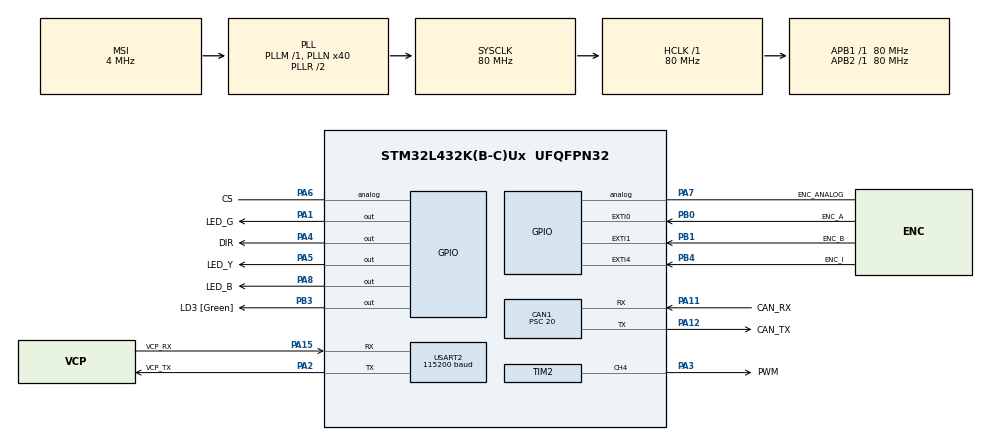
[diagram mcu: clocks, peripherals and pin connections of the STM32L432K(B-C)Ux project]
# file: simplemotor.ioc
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CAN1.ABOM=ENABLE
CAN1.BS1=CAN_BS1_13TQ
CAN1.BS2=CAN_BS2_2TQ
CAN1.CalculateTimeQuantum=250.0
CAN1.Mode=CAN_MODE_NORMAL
CAN1.Prescaler=20
CAN1.SJW=CAN_SJW_1TQ
Dma.Request0=USART2_RX
Dma.Request1=USART2_TX
Dma.USART2_RX.0.Direction=DMA_PERIPH_TO_MEMORY
Dma.USART2_RX.0.Instance=DMA1_Channel6
Dma.USART2_RX.0.MemDataAlignment=DMA_MDATAALIGN_BYTE
Dma.USART2_RX.0.MemInc=DMA_MINC_ENABLE
Dma.USART2_RX.0.Mode=DMA_CIRCULAR
Dma.USART2_RX.0.PeriphDataAlignment=DMA_PDATAALIGN_BYTE
Dma.USART2_RX.0.PeriphInc=DMA_PINC_DISABLE
Dma.USART2_RX.0.Priority=DMA_PRIORITY_MEDIUM
Dma.USART2_TX.1.Direction=DMA_MEMORY_TO_PERIPH
Dma.USART2_TX.1.Instance=DMA1_Channel7
Dma.USART2_TX.1.MemDataAlignment=DMA_MDATAALIGN_BYTE
Dma.USART2_TX.1.MemInc=DMA_MINC_ENABLE
Dma.USART2_TX.1.Mode=DMA_NORMAL
Dma.USART2_TX.1.PeriphDataAlignment=DMA_PDATAALIGN_BYTE
Dma.USART2_TX.1.PeriphInc=DMA_PINC_DISABLE
Dma.USART2_TX.1.Priority=DMA_PRIORITY_LOW
Mcu.Family=STM32L4
Mcu.Name=STM32L432K(B-C)Ux
Mcu.Package=UFQFPN32
NVIC.CAN1_RX0_IRQn=true\:5\:0\:true\:false\:true\:true\:true
NVIC.CAN1_SCE_IRQn=true\:0\:0\:false\:false\:true\:true\:true
NVIC.CAN1_TX_IRQn=true\:6\:0\:true\:false\:true\:true\:true
NVIC.DMA1_Channel6_IRQn=true\:2\:0\:true\:false\:true\:false\:true
NVIC.DMA1_Channel7_IRQn=true\:3\:0\:true\:false\:true\:false\:true
NVIC.PriorityGroup=NVIC_PRIORITYGROUP_3
NVIC.TIM6_DAC_IRQn=true\:7\:1\:true\:false\:true\:true\:true
NVIC.TIM7_IRQn=true\:1\:0\:true\:false\:true\:true\:true
NVIC.USART2_IRQn=true\:4\:0\:true\:false\:true\:true\:true
PA0.GPIO_Label=MCO [High speed clock in]
PA0.Mode=HSE-External-Clock-Source-for-LittleOrca
PA0.Signal=RCC_CK_IN
PA1.GPIO_Label=LED_G
PA1.Signal=GPIO_Output
PA11.GPIO_Label=CAN_RX
PA11.Mode=Master
PA11.Signal=CAN1_RX
PA12.GPIO_Label=CAN_TX
PA12.Mode=Master
PA12.Signal=CAN1_TX
PA13\ (JTMS-SWDIO).GPIO_Label=SWDIO
PA13\ (JTMS-SWDIO).Mode=Serial_Wire
PA13\ (JTMS-SWDIO).Signal=SYS_JTMS-SWDIO
PA14\ (JTCK-SWCLK).GPIO_Label=SWCLK
PA14\ (JTCK-SWCLK).Mode=Serial_Wire
PA14\ (JTCK-SWCLK).Signal=SYS_JTCK-SWCLK
PA15\ (JTDI).GPIO_Label=VCP_RX
PA15\ (JTDI).Mode=Asynchronous
PA15\ (JTDI).Signal=USART2_RX
PA2.GPIO_Label=VCP_TX
PA2.Mode=Asynchronous
PA2.Signal=USART2_TX
PA3.GPIO_Label=PWM
PA3.Signal=S_TIM2_CH4
PA4.GPIO_Label=DIR
PA4.Signal=GPIO_Output
PA5.GPIO_Label=LED_Y
PA5.Signal=GPIO_Output
PA6.GPIO_Label=CS
PA6.Signal=GPIO_Analog
PA7.GPIO_Label=ENC_ANALOG
PA7.Signal=GPIO_Analog
PA8.GPIO_Label=LED_B
PA8.Signal=GPIO_Output
PB0.GPIO_Label=ENC_A
PB0.GPIO_ModeDefaultEXTI=GPIO_MODE_IT_RISING_FALLING
PB0.GPIO_PuPd=GPIO_PULLDOWN
PB0.Signal=GPXTI0
PB1.GPIO_Label=ENC_B
PB1.GPIO_ModeDefaultEXTI=GPIO_MODE_IT_RISING_FALLING
PB1.GPIO_PuPd=GPIO_PULLDOWN
PB1.Signal=GPXTI1
PB3\ (JTDO-TRACESWO).GPIO_Label=LD3 [Green]
PB3\ (JTDO-TRACESWO).Signal=GPIO_Output
PB4\ (NJTRST).GPIO_Label=ENC_I
PB4\ (NJTRST).GPIO_PuPd=GPIO_PULLDOWN
PB4\ (NJTRST).Signal=GPXTI4
PC14-OSC32_IN\ (PC14).Mode=LSE-External-Oscillator
PC14-OSC32_IN\ (PC14).Signal=RCC_OSC32_IN
PC15-OSC32_OUT\ (PC15).Mode=LSE-External-Oscillator
PC15-OSC32_OUT\ (PC15).Signal=RCC_OSC32_OUT
ProjectManager.HeapSize=0x200
ProjectManager.StackSize=0x400
ProjectManager.TargetToolchain=Makefile
RCC.AHBFreq_Value=80000000
RCC.APB1Freq_Value=80000000
RCC.APB1TimFreq_Value=80000000
RCC.APB2Freq_Value=80000000
RCC.APB2TimFreq_Value=80000000
RCC.CortexFreq_Value=80000000
RCC.HCLKFreq_Value=80000000
RCC.HSE_VALUE=8000000
RCC.HSI16_VALUE=16000000
RCC.HSI48_VALUE=48000000
RCC.HSI_VALUE=16000000
RCC.MSI_VALUE=4000000
RCC.PLLMUL=RCC_PLLMUL_4
RCC.PLLN=40
RCC.SYSCLKFreq_VALUE=80000000
RCC.SYSCLKSource=RCC_SYSCLKSOURCE_PLLCLK
RCC.VCOOutputFreq_Value=160000000
SH.S_TIM2_CH4.0=TIM2_CH4,PWM Generation4 CH4
TIM2.AutoReloadPreload=TIM_AUTORELOAD_PRELOAD_DISABLE
TIM2.Channel-PWM\ Generation4\ CH4=TIM_CHANNEL_4
TIM2.Period=3999
TIM2.Pulse-PWM\ Generation4\ CH4=0
TIM6.AutoReloadPreload=TIM_AUTORELOAD_PRELOAD_DISABLE
TIM6.Period=9999
TIM6.Prescaler=79
TIM7.Period=799
USART2.BaudRate=115200
USART2.VirtualMode-Asynchronous=VM_ASYNC
VP_TIM2_VS_ClockSourceINT.Mode=Internal
VP_TIM6_VS_ClockSourceINT.Mode=Enable_Timer
VP_TIM7_VS_ClockSourceINT.Mode=Enable_Timer
board=NUCLEO-L432KC

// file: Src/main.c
/* USER CODE BEGIN Header */
/**
  ******************************************************************************
  * @file           : main.c
  * @brief          : Main program body
  ******************************************************************************
  * @attention
  *
  * <h2><center>&copy; Copyright (c) 2020 STMicroelectronics.
  * All rights reserved.</center></h2>
  *
  * This software component is licensed by ST under BSD 3-Clause license,
  * the "License"; You may not use this file except in compliance with the
  * License. You may obtain a copy of the License at:
  *                        opensource.org/licenses/BSD-3-Clause
  *
  ******************************************************************************
  */
/* USER CODE END Header */

#include "main.h"

/* USER CODE BEGIN Includes */
#include "usrMain.h"
#include "handles.h"
/* USER CODE END Includes */

CAN_HandleTypeDef hcan1;

TIM_HandleTypeDef htim2;
TIM_HandleTypeDef htim6;
TIM_HandleTypeDef htim7;

UART_HandleTypeDef huart2;
DMA_HandleTypeDef hdma_usart2_rx;
DMA_HandleTypeDef hdma_usart2_tx;

/* USER CODE BEGIN PV */
uint8_t tx_busy = 0;
uint8_t uart_receive_buffer[10];
uint32_t ticks;
uint8_t enc_a_last, enc_b_last;

CAN_FilterTypeDef sFilterConfig;
CAN_TxHeaderTypeDef TxHeader;
CAN_RxHeaderTypeDef RxHeader;
uint8_t TxData[8];
uint8_t RxData[8];
uint32_t TxMailbox;
/* USER CODE END PV */

void SystemClock_Config(void);
static void MX_GPIO_Init(void);
static void MX_DMA_Init(void);
static void MX_USART2_UART_Init(void);
static void MX_CAN1_Init(void);
static void MX_TIM2_Init(void);
static void MX_TIM6_Init(void);
static void MX_TIM7_Init(void);

/* USER CODE BEGIN 0 */

void HAL_TIM_PeriodElapsedCallback(TIM_HandleTypeDef *htim)
{
   if (htim->Instance == htim7.Instance)
     encoder_tick();
   else
    if (htim->Instance == htim6.Instance)
    control_tick();
}

// void HAL_UART_RxCpltCallback(UART_HandleTypeDef *huart) {
//   __HAL_UART_SEND_REQ(huart, UART_RXDATA_FLUSH_REQUEST);
//   uart_byte_received(uart_receive_buffer[0]);
// }

// void HAL_UART_TxCpltCallback(UART_HandleTypeDef *huart) {
//   tx_cplt();
// }

void HAL_CAN_TxMailbox0CompleteCallback(CAN_HandleTypeDef *hcan)
{

}
void HAL_CAN_RxFifo0MsgPendingCallback(CAN_HandleTypeDef *hcan)
{
  HAL_CAN_GetRxMessage(&hcan1, CAN_RX_FIFO0, &RxHeader, RxData);
  parse_can_message();
}

/* USER CODE END 0 */

int main(void)
{

  /* MCU Configuration--------------------------------------------------------*/

  /* Reset of all peripherals, Initializes the Flash interface and the Systick. */
  HAL_Init();

  /* Configure the system clock */
  SystemClock_Config();

  /* Initialize all configured peripherals */
  MX_GPIO_Init();
  MX_DMA_Init();
  MX_USART2_UART_Init();
  MX_CAN1_Init();
  MX_TIM2_Init();
  MX_TIM6_Init();
  MX_TIM7_Init();
  /* USER CODE BEGIN 2 */
  HAL_TIM_PWM_Start(&htim2, TIM_CHANNEL_4);
  //HAL_UART_Receive_DMA(&huart2, uart_receive_buffer, 1);

  //HAL_UART_Receive_DMA(&huart2, uart_receive_buffer, 1);
  /* USER CODE END 2 */

  /* Infinite loop */
  /* USER CODE BEGIN WHILE */
  usrMain();
    /* USER CODE END WHILE */

}

void SystemClock_Config(void)
{
  RCC_OscInitTypeDef RCC_OscInitStruct = {0};
  RCC_ClkInitTypeDef RCC_ClkInitStruct = {0};
  RCC_PeriphCLKInitTypeDef PeriphClkInit = {0};

  /** Configure LSE Drive Capability
  */
  HAL_PWR_EnableBkUpAccess();
  __HAL_RCC_LSEDRIVE_CONFIG(RCC_LSEDRIVE_LOW);
  /** Initializes the CPU, AHB and APB busses clocks
  */
  RCC_OscInitStruct.OscillatorType = RCC_OSCILLATORTYPE_LSE|RCC_OSCILLATORTYPE_MSI;
  RCC_OscInitStruct.LSEState = RCC_LSE_ON;
  RCC_OscInitStruct.MSIState = RCC_MSI_ON;
  RCC_OscInitStruct.MSICalibrationValue = 0;
  RCC_OscInitStruct.MSIClockRange = RCC_MSIRANGE_6;
  RCC_OscInitStruct.PLL.PLLState = RCC_PLL_ON;
  RCC_OscInitStruct.PLL.PLLSource = RCC_PLLSOURCE_MSI;
  RCC_OscInitStruct.PLL.PLLM = 1;
  RCC_OscInitStruct.PLL.PLLN = 40;
  RCC_OscInitStruct.PLL.PLLP = RCC_PLLP_DIV7;
  RCC_OscInitStruct.PLL.PLLQ = RCC_PLLQ_DIV2;
  RCC_OscInitStruct.PLL.PLLR = RCC_PLLR_DIV2;
  if (HAL_RCC_OscConfig(&RCC_OscInitStruct) != HAL_OK)
  {
    Error_Handler();
  }
  /** Initializes the CPU, AHB and APB busses clocks
  */
  RCC_ClkInitStruct.ClockType = RCC_CLOCKTYPE_HCLK|RCC_CLOCKTYPE_SYSCLK
                              |RCC_CLOCKTYPE_PCLK1|RCC_CLOCKTYPE_PCLK2;
  RCC_ClkInitStruct.SYSCLKSource = RCC_SYSCLKSOURCE_PLLCLK;
  RCC_ClkInitStruct.AHBCLKDivider = RCC_SYSCLK_DIV1;
  RCC_ClkInitStruct.APB1CLKDivider = RCC_HCLK_DIV1;
  RCC_ClkInitStruct.APB2CLKDivider = RCC_HCLK_DIV1;

  if (HAL_RCC_ClockConfig(&RCC_ClkInitStruct, FLASH_LATENCY_4) != HAL_OK)
  {
    Error_Handler();
  }
  PeriphClkInit.PeriphClockSelection = RCC_PERIPHCLK_USART2;
  PeriphClkInit.Usart2ClockSelection = RCC_USART2CLKSOURCE_PCLK1;
  if (HAL_RCCEx_PeriphCLKConfig(&PeriphClkInit) != HAL_OK)
  {
    Error_Handler();
  }
  /** Configure the main internal regulator output voltage
  */
  if (HAL_PWREx_ControlVoltageScaling(PWR_REGULATOR_VOLTAGE_SCALE1) != HAL_OK)
  {
    Error_Handler();
  }
  /** Enable MSI Auto calibration
  */
  HAL_RCCEx_EnableMSIPLLMode();
}

static void MX_CAN1_Init(void)
{

  hcan1.Instance = CAN1;
  hcan1.Init.Prescaler = 20;
  hcan1.Init.Mode = CAN_MODE_NORMAL;
  hcan1.Init.SyncJumpWidth = CAN_SJW_1TQ;
  hcan1.Init.TimeSeg1 = CAN_BS1_13TQ;
  hcan1.Init.TimeSeg2 = CAN_BS2_2TQ;
  hcan1.Init.TimeTriggeredMode = DISABLE;
  hcan1.Init.AutoBusOff = ENABLE;
  hcan1.Init.AutoWakeUp = DISABLE;
  hcan1.Init.AutoRetransmission = DISABLE;
  hcan1.Init.ReceiveFifoLocked = DISABLE;
  hcan1.Init.TransmitFifoPriority = DISABLE;
  if (HAL_CAN_Init(&hcan1) != HAL_OK)
  {
    Error_Handler();
  }
  /* USER CODE BEGIN CAN1_Init 2 */
  sFilterConfig.FilterBank = 0;
  sFilterConfig.FilterMode = CAN_FILTERMODE_IDMASK;
  sFilterConfig.FilterScale = CAN_FILTERSCALE_32BIT;
  sFilterConfig.FilterIdHigh = 0x0000;
  sFilterConfig.FilterIdLow = 0x0000;
  sFilterConfig.FilterMaskIdHigh = 0x0000;
  sFilterConfig.FilterMaskIdLow = 0x0000;
  sFilterConfig.FilterFIFOAssignment = CAN_RX_FIFO0;
  sFilterConfig.FilterActivation = ENABLE;
  sFilterConfig.SlaveStartFilterBank = 14;
  HAL_CAN_ConfigFilter(&hcan1, &sFilterConfig);
  HAL_CAN_Init(&hcan1);
  HAL_CAN_Start(&hcan1);
  HAL_CAN_ActivateNotification(&hcan1, CAN_IT_BUSOFF | CAN_IT_RX_FIFO0_MSG_PENDING | CAN_IT_TX_MAILBOX_EMPTY);
  /* USER CODE END CAN1_Init 2 */

}

static void MX_TIM2_Init(void)
{

  TIM_ClockConfigTypeDef sClockSourceConfig = {0};
  TIM_MasterConfigTypeDef sMasterConfig = {0};
  TIM_OC_InitTypeDef sConfigOC = {0};

  htim2.Instance = TIM2;
  htim2.Init.Prescaler = 0;
  htim2.Init.CounterMode = TIM_COUNTERMODE_UP;
  htim2.Init.Period = 3999;
  htim2.Init.ClockDivision = TIM_CLOCKDIVISION_DIV1;
  htim2.Init.AutoReloadPreload = TIM_AUTORELOAD_PRELOAD_DISABLE;
  if (HAL_TIM_Base_Init(&htim2) != HAL_OK)
  {
    Error_Handler();
  }
  sClockSourceConfig.ClockSource = TIM_CLOCKSOURCE_INTERNAL;
  if (HAL_TIM_ConfigClockSource(&htim2, &sClockSourceConfig) != HAL_OK)
  {
    Error_Handler();
  }
  if (HAL_TIM_PWM_Init(&htim2) != HAL_OK)
  {
    Error_Handler();
  }
  sMasterConfig.MasterOutputTrigger = TIM_TRGO_RESET;
  sMasterConfig.MasterSlaveMode = TIM_MASTERSLAVEMODE_DISABLE;
  if (HAL_TIMEx_MasterConfigSynchronization(&htim2, &sMasterConfig) != HAL_OK)
  {
    Error_Handler();
  }
  sConfigOC.OCMode = TIM_OCMODE_PWM1;
  sConfigOC.Pulse = 0;
  sConfigOC.OCPolarity = TIM_OCPOLARITY_HIGH;
  sConfigOC.OCFastMode = TIM_OCFAST_DISABLE;
  if (HAL_TIM_PWM_ConfigChannel(&htim2, &sConfigOC, TIM_CHANNEL_4) != HAL_OK)
  {
    Error_Handler();
  }
  HAL_TIM_MspPostInit(&htim2);

}

static void MX_TIM6_Init(void)
{

  TIM_MasterConfigTypeDef sMasterConfig = {0};

  htim6.Instance = TIM6;
  htim6.Init.Prescaler = 79;
  htim6.Init.CounterMode = TIM_COUNTERMODE_UP;
  htim6.Init.Period = 9999;
  htim6.Init.AutoReloadPreload = TIM_AUTORELOAD_PRELOAD_DISABLE;
  if (HAL_TIM_Base_Init(&htim6) != HAL_OK)
  {
    Error_Handler();
  }
  sMasterConfig.MasterOutputTrigger = TIM_TRGO_RESET;
  sMasterConfig.MasterSlaveMode = TIM_MASTERSLAVEMODE_DISABLE;
  if (HAL_TIMEx_MasterConfigSynchronization(&htim6, &sMasterConfig) != HAL_OK)
  {
    Error_Handler();
  }

}

static void MX_TIM7_Init(void)
{

  TIM_MasterConfigTypeDef sMasterConfig = {0};

  htim7.Instance = TIM7;
  htim7.Init.Prescaler = 0;
  htim7.Init.CounterMode = TIM_COUNTERMODE_UP;
  htim7.Init.Period = 799;
  htim7.Init.AutoReloadPreload = TIM_AUTORELOAD_PRELOAD_DISABLE;
  if (HAL_TIM_Base_Init(&htim7) != HAL_OK)
  {
    Error_Handler();
  }
  sMasterConfig.MasterOutputTrigger = TIM_TRGO_RESET;
  sMasterConfig.MasterSlaveMode = TIM_MASTERSLAVEMODE_DISABLE;
  if (HAL_TIMEx_MasterConfigSynchronization(&htim7, &sMasterConfig) != HAL_OK)
  {
    Error_Handler();
  }

}

static void MX_USART2_UART_Init(void)
{

  huart2.Instance = USART2;
  huart2.Init.BaudRate = 115200;
  huart2.Init.WordLength = UART_WORDLENGTH_8B;
  huart2.Init.StopBits = UART_STOPBITS_1;
  huart2.Init.Parity = UART_PARITY_NONE;
  huart2.Init.Mode = UART_MODE_TX_RX;
  huart2.Init.HwFlowCtl = UART_HWCONTROL_NONE;
  huart2.Init.OverSampling = UART_OVERSAMPLING_16;
  huart2.Init.OneBitSampling = UART_ONE_BIT_SAMPLE_DISABLE;
  huart2.AdvancedInit.AdvFeatureInit = UART_ADVFEATURE_NO_INIT;
  if (HAL_UART_Init(&huart2) != HAL_OK)
  {
    Error_Handler();
  }

}

static void MX_DMA_Init(void)
{

  /* DMA controller clock enable */
  __HAL_RCC_DMA1_CLK_ENABLE();

  /* DMA interrupt init */
  /* DMA1_Channel6_IRQn interrupt configuration */
  HAL_NVIC_SetPriority(DMA1_Channel6_IRQn, 2, 0);
  HAL_NVIC_EnableIRQ(DMA1_Channel6_IRQn);
  /* DMA1_Channel7_IRQn interrupt configuration */
  HAL_NVIC_SetPriority(DMA1_Channel7_IRQn, 3, 0);
  HAL_NVIC_EnableIRQ(DMA1_Channel7_IRQn);

}

static void MX_GPIO_Init(void)
{
  GPIO_InitTypeDef GPIO_InitStruct = {0};

  /* GPIO Ports Clock Enable */
  __HAL_RCC_GPIOC_CLK_ENABLE();
  __HAL_RCC_GPIOA_CLK_ENABLE();
  __HAL_RCC_GPIOB_CLK_ENABLE();

  /*Configure GPIO pin Output Level */
  HAL_GPIO_WritePin(GPIOA, LED_G_Pin|DIR_Pin|LED_Y_Pin|LED_B_Pin, GPIO_PIN_RESET);

  /*Configure GPIO pin Output Level */
  HAL_GPIO_WritePin(LD3_GPIO_Port, LD3_Pin, GPIO_PIN_RESET);

  /*Configure GPIO pins : LED_G_Pin DIR_Pin LED_Y_Pin LED_B_Pin */
  GPIO_InitStruct.Pin = LED_G_Pin|DIR_Pin|LED_Y_Pin|LED_B_Pin;
  GPIO_InitStruct.Mode = GPIO_MODE_OUTPUT_PP;
  GPIO_InitStruct.Pull = GPIO_NOPULL;
  GPIO_InitStruct.Speed = GPIO_SPEED_FREQ_LOW;
  HAL_GPIO_Init(GPIOA, &GPIO_InitStruct);

  /*Configure GPIO pins : CS_Pin ENC_ANALOG_Pin */
  GPIO_InitStruct.Pin = CS_Pin|ENC_ANALOG_Pin;
  GPIO_InitStruct.Mode = GPIO_MODE_ANALOG;
  GPIO_InitStruct.Pull = GPIO_NOPULL;
  HAL_GPIO_Init(GPIOA, &GPIO_InitStruct);

  /*Configure GPIO pins : ENC_A_Pin ENC_B_Pin */
  GPIO_InitStruct.Pin = ENC_A_Pin|ENC_B_Pin;
  GPIO_InitStruct.Mode = GPIO_MODE_IT_RISING_FALLING;
  GPIO_InitStruct.Pull = GPIO_PULLDOWN;
  HAL_GPIO_Init(GPIOB, &GPIO_InitStruct);

  /*Configure GPIO pin : LD3_Pin */
  GPIO_InitStruct.Pin = LD3_Pin;
  GPIO_InitStruct.Mode = GPIO_MODE_OUTPUT_PP;
  GPIO_InitStruct.Pull = GPIO_NOPULL;
  GPIO_InitStruct.Speed = GPIO_SPEED_FREQ_LOW;
  HAL_GPIO_Init(LD3_GPIO_Port, &GPIO_InitStruct);

  /*Configure GPIO pin : ENC_I_Pin */
  GPIO_InitStruct.Pin = ENC_I_Pin;
  GPIO_InitStruct.Mode = GPIO_MODE_IT_RISING;
  GPIO_InitStruct.Pull = GPIO_PULLDOWN;
  HAL_GPIO_Init(ENC_I_GPIO_Port, &GPIO_InitStruct);

}

void Error_Handler(void)
{
}

/************************ (C) COPYRIGHT STMicroelectronics *****END OF FILE****/
